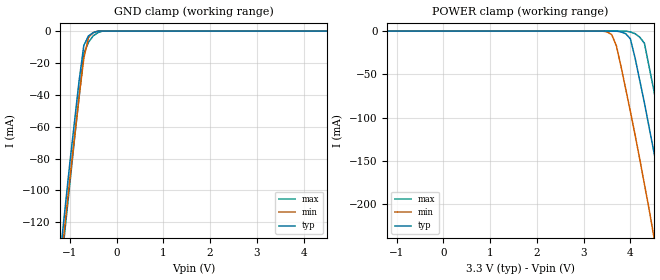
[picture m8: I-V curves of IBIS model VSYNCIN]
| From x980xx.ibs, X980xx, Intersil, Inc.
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|   VSYNCIN MODEL
[Model]   VSYNCIN
Model_type   Input
Vinl = 0.8Vc
Vinh = 2.5V
C_comp   3.355pF  3.227pF  3.485pF
|   typ   min   max
[Voltage Range]   3.3   3   3.6
[Temperature Range]  25   85   -40
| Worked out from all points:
|   GND clamp passes 1 mA (typ) near -0.50 V on its own axis
[GND_Clamp]
|V   I(typ)   I(min)   I(max)
-3.3V     -863mA     -919mA     -777mA
-1.2V     -139mA     -148mA     -152mA
-1.1V     -111mA     -120mA     -124mA
-1V       -83mA      -93mA      -96mA
-900mV    -57mA      -67mA      -68mA
-800mV    -31mA      -41mA      -41mA
-700mV    -9mA       -17mA      -14mA
-600mV    -3mA       -4mA       -7mA
-500mV    -1mA       -1mA       -3mA
-400mV    0A         0A         -1mA
-300mV    0A         0A         0A
6.6V      0A         0A         0A
[Power_Clamp]
|V   I(typ)   I(min)   I(max)
-3.3V     0A         0A         0A
3.5V      0A         -1mA       0A
3.6V      0A         -4mA       0A
3.7V      0A         -17mA      0A
4V        -9mA       -93mA      -1mA
4.1V      -31mA      -120mA     -3mA
4.3V      -83mA      -177mA     -14mA
4.5V      -139mA     -237mA     -68mA
4.8V      -226mA     -332mA     -152mA
5V        -287mA     -400mA     -208mA
5.1V      -319mA     -435mA     -237mA
6.6V      -863mA     -1.058A    -684mA
